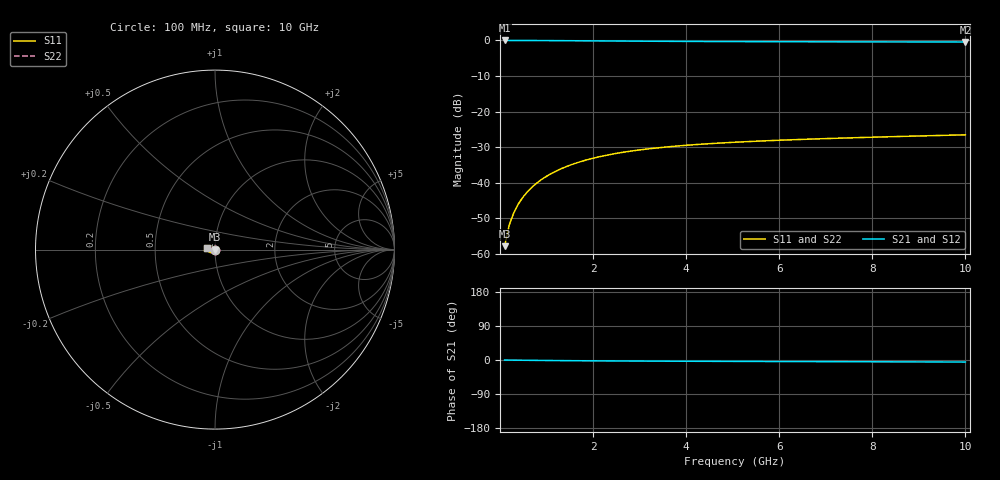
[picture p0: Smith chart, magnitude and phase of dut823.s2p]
! Touchstone file exported from HFSS 2024.1.0
!  File:  C:/UserFiles/LocalFiles/RDL_TSV_Batchsim/temp_TSV1_823_1779878434.aedt
!  Generated:  06:47:19 PM May 27, 2026
!  Design:  TSV1
!  Project:  temp_TSV1_823_1779878434
!  Setup:  Setup1
!  Solution:  Sweep
! Variables:
!  dtsv = 10.8um
!  hbump = 3um
!  htsv = 81.91um
!  lrdl = 252.1521522um
!  p = 40
!  p1 = 59.29um
!  t = 500um
!  trdl = 3um
!  wrdl = 24.89489489um
# GHz S MA R 50.000000
! Terminal data exported
! Port[1] = TSV22_T1
! Port[2] = TSV22_T2
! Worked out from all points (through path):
!   100 points, 100 MHz to 10 GHz, reference 50 ohm
!   highest |S21| = 0.00 dB at 100 MHz (marker M1); lowest = -0.4 dB at 10 GHz (marker M2)
!   lowest |S11| = -57.9 dB at 100 MHz (marker M3), VSWR 1.00, Z = 50 - j0.127 ohm
!   |S11| at or under -10 dB: start of sweep to end of sweep
!   |S22| runs from -57.9 to -26.6 dB; largest |S21 - S12| = 3.7e-15
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0.1  0.001275 -86.5  0.9998 -0.1  0.9998 -0.1  0.001275 -86.5
! Gamma 0 0 0 0
! Port Impedance 50 0 50 0
0.2  0.002541 -91.2  0.9997 -0.3  0.9997 -0.3  0.002541 -91.2
0.3  0.003806 -94.1  0.9994 -0.4  0.9994 -0.4  0.003806 -94.1
0.4  0.005065 -96.6  0.9991 -0.5  0.9991 -0.5  0.005065 -96.6
0.5  0.006312 -99.0  0.9987 -0.7  0.9987 -0.7  0.006312 -99.0
0.6  0.007545 -101.2  0.9982 -0.8  0.9982 -0.8  0.007545 -101.2
0.7  0.00876 -103.4  0.9976 -0.9  0.9976 -0.9  0.00876 -103.4
0.8  0.009953 -105.5  0.997 -1.0  0.997 -1.0  0.009953 -105.5
0.9  0.01112 -107.5  0.9963 -1.2  0.9963 -1.2  0.01112 -107.5
1.1  0.01338 -111.6  0.9947 -1.4  0.9947 -1.4  0.01338 -111.6
1.4  0.01654 -117.3  0.9921 -1.7  0.9921 -1.7  0.01654 -117.3
1.6  0.0185 -120.9  0.9902 -1.9  0.9902 -1.9  0.0185 -120.9
1.8  0.02032 -124.4  0.9882 -2.1  0.9882 -2.1  0.02032 -124.4
2.1  0.02282 -129.3  0.9853 -2.3  0.9853 -2.3  0.02282 -129.3
2.5  0.02574 -135.3  0.9814 -2.6  0.9814 -2.6  0.02574 -135.3
2.9  0.02824 -140.8  0.9778 -2.8  0.9778 -2.8  0.02824 -140.8
3.4  0.03088 -147.0  0.9738 -3.0  0.9738 -3.0  0.03088 -147.0
4.2  0.03422 -155.6  0.9684 -3.4  0.9684 -3.4  0.03422 -155.6
5.1  0.03711 -163.8  0.9637 -3.7  0.9637 -3.7  0.03711 -163.8
6.7  0.04098 -175.6  0.9579 -4.2  0.9579 -4.2  0.04098 -175.6
8.4  0.04424 174.3  0.9541 -4.8  0.9541 -4.8  0.04424 174.3
10  0.047 166.4  0.9516 -5.4  0.9516 -5.4  0.047 166.4
